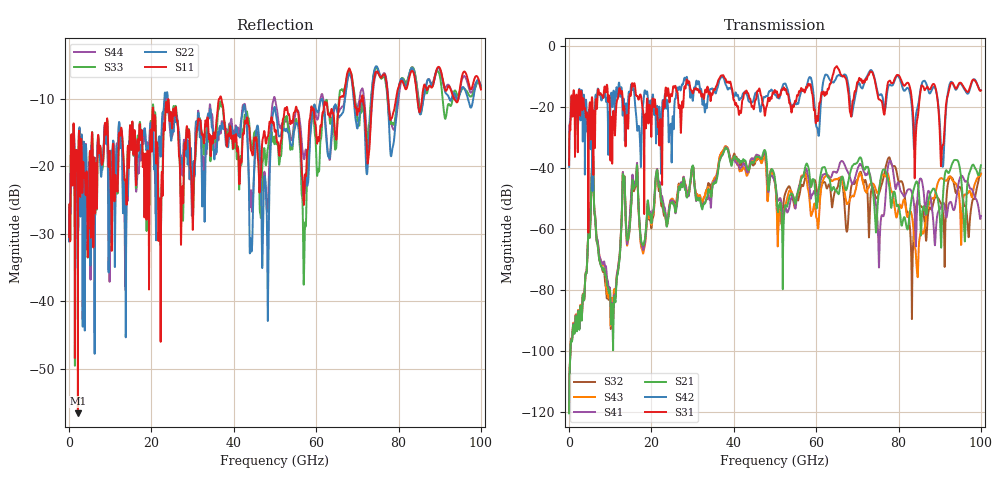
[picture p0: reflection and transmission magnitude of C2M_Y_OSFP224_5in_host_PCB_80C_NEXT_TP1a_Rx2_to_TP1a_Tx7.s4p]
# GHz S RI R 45
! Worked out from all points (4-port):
!   4000 points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, 25 MHz to 100 GHz, reference 45 ohm
!   strongest paths, dB at 25 MHz, 25.02 GHz, 50.02 GHz, 75.03 GHz, 100 GHz:
!     S31: -39.0, -16.4, -14.6, -16.8, -14.7
!     S42: -39.6, -28.1, -16.1, -15.6, -14.6
!     S21: -120.3, -51.2, -43.9, -50.7, -39.1
!     S41: -119.9, -50.7, -44.8, -61.2, -55.7
!     S43: -119.6, -50.0, -45.3, -48.1, -41.8
!     S32: -120.0, -50.4, -44.8, -49.1, -42.0
!   lowest |S11| = -56.6 dB at 2.15 GHz (marker M1), VSWR 1.00, Z = 45 - j0.133 ohm
!   |S11| at or under -10 dB: start of sweep to 36.53 GHz; 36.98 GHz to 65.71 GHz (28.73 GHz wide, 56 % of centre); 71.35 GHz to 73.59 GHz (2.239 GHz wide, 3.09 % of centre) (the widest 3 of 7)
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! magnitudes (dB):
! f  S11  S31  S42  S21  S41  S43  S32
! 25 MHz  -30.5  -39.0  -39.6  -120.3  -119.9  -119.6  -120.0
! 2.15 GHz  -56.6  -29.1  -23.0  -87.6  -87.4  -87.2  -87.3
! 5.725 GHz  -16.9  -19.6  -37.6  -35.7  -35.5  -35.7  -35.8
! 10.85 GHz  -18.6  -21.7  -14.7  -85.5  -83.6  -80.9  -82.7
! 38.17 GHz  -16.2  -11.6  -13.0  -33.5  -33.2  -33.0  -33.2
! 84.42 GHz  -9.2  -25.2  -21.3  -44.4  -55.3  -73.1  -51.4
! 100 GHz  -8.6  -14.7  -14.6  -39.1  -55.7  -41.8  -42.0
